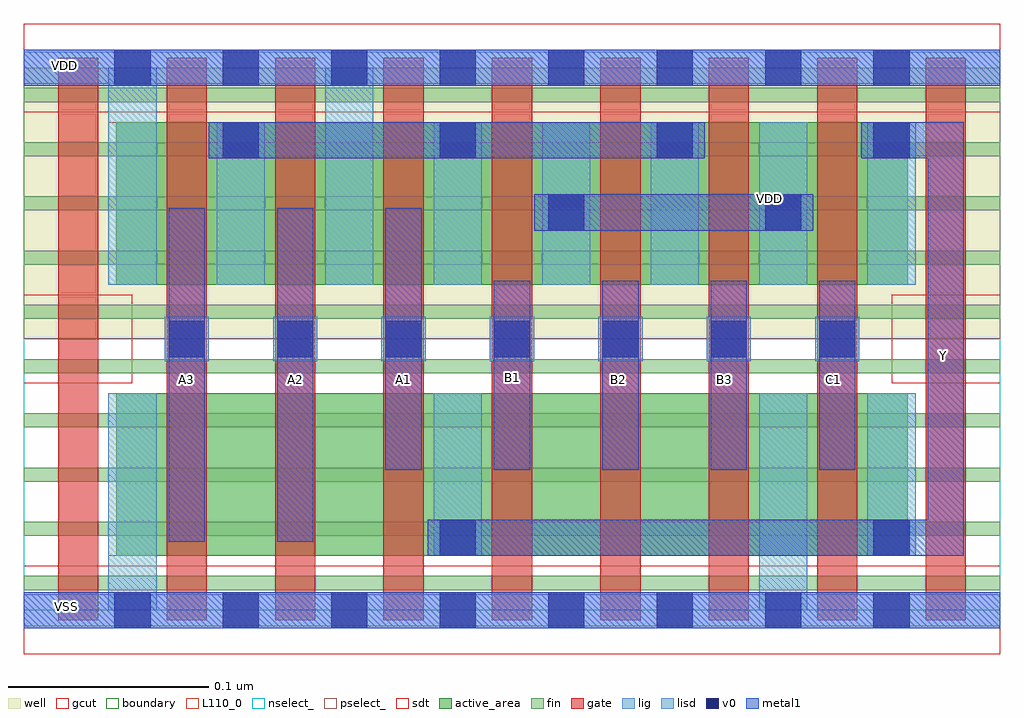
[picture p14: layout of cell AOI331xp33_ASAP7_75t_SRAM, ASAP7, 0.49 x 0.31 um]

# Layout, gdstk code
import gdstk
lib = gdstk.Library(unit=1e-6, precision=2.5e-10)
def R(c, l, rs):  # rectangles x0, y0, x1, y1
    for r in rs: c.add(gdstk.rectangle(r[:2], r[2:], *l))
def A(c, l, x, y, w, h, nx, ny, dx, dy):  # array of equal rectangles
    R(c, l, [(x+i*dx, y+j*dy, x+i*dx+w, y+j*dy+h) for i in range(nx) for j in range(ny)])
well = (1, 0)
fin = (2, 0)
gate = (7, 0)
gcut = (10, 0)
active_area = (11, 0)
nselect_ = (12, 0)
pselect_ = (13, 0)
lig = (16, 0)
lisd = (17, 0)
v0 = (18, 0)
metal1 = (19, 0)
sdt = (88, 0)
boundary = (100, 0)
L110_0 = (110, 0)

aoi331xp33_asap7_75t_sra = lib.new_cell('AOI331xp33_ASAP7_75t_SRAM')
R(aoi331xp33_asap7_75t_sra, well, [(0,0.135,0.486,0.27)])
A(aoi331xp33_asap7_75t_sra, fin, 0, 0.01, 0.486, 0.007, 1, 10, 0, 0.027)
A(aoi331xp33_asap7_75t_sra, gate, 0.017, -0.005, 0.02, 0.28, 9, 1, 0.054, 0)
R(aoi331xp33_asap7_75t_sra, gate, [(0.449,-0.005,0.469,0.275), (0.449,-0.005,0.469,0.275)])
R(aoi331xp33_asap7_75t_sra, gcut, [(0,-0.022,0.098,0.022), (0,-0.022,0.486,0.022), (0.442,-0.022,0.486,0.022), (0,0.113,0.054,0.157), (0.432,0.113,0.486,0.157), (0,0.248,0.098,0.292), (0,0.248,0.486,0.292), (0.442,0.248,0.486,0.292)])
R(aoi331xp33_asap7_75t_sra, active_area, [(0.046,0.027,0.44,0.108), (0.046,0.162,0.44,0.243)])
R(aoi331xp33_asap7_75t_sra, nselect_, [(0,0,0.486,0.135)])
R(aoi331xp33_asap7_75t_sra, pselect_, [(0,0.135,0.486,0.27)])
A(aoi331xp33_asap7_75t_sra, lig, 0.07, 0.124, 0.022, 0.022, 7, 1, 0.054, 0)
R(aoi331xp33_asap7_75t_sra, lig, [(0,-0.008,0.486,0.008), (0,0.262,0.486,0.278)])
A(aoi331xp33_asap7_75t_sra, lisd, 0.042, 0.162, 0.024, 0.081, 8, 1, 0.054, 0)
R(aoi331xp33_asap7_75t_sra, lisd, [(0.042,0,0.066,0.108), (0.366,0,0.39,0.108), (0.204,0.027,0.228,0.108), (0.42,0.027,0.444,0.108), (0.042,0.162,0.066,0.27), (0.15,0.162,0.174,0.27), (0.42,0.162,0.444,0.243)])
A(aoi331xp33_asap7_75t_sra, v0, 0.045, -0.009, 0.018, 0.018, 8, 2, 0.054, 0.27)
A(aoi331xp33_asap7_75t_sra, v0, 0.072, 0.126, 0.018, 0.018, 7, 1, 0.054, 0)
A(aoi331xp33_asap7_75t_sra, v0, 0.099, 0.225, 0.018, 0.018, 4, 1, 0.108, 0)
R(aoi331xp33_asap7_75t_sra, v0, [(0.423,-0.009,0.441,0.009), (0.423,-0.009,0.441,0.009), (0.207,0.027,0.225,0.045), (0.423,0.027,0.441,0.045), (0.261,0.189,0.279,0.207), (0.369,0.189,0.387,0.207), (0.423,0.261,0.441,0.279), (0.423,0.261,0.441,0.279)])
A(aoi331xp33_asap7_75t_sra, metal1, 0.234, 0.07, 0.018, 0.094, 4, 1, 0.054, 0)
R(aoi331xp33_asap7_75t_sra, metal1, [(0,-0.009,0.486,0.009), (0.201,0.027,0.459,0.045), (0.45,0.027,0.468,0.243), (0.072,0.034,0.09,0.2), (0.126,0.034,0.144,0.2), (0.18,0.07,0.198,0.2), (0.254,0.189,0.393,0.207), (0.092,0.225,0.339,0.243), (0.417,0.225,0.463,0.243), (0,0.261,0.486,0.279)])
A(aoi331xp33_asap7_75t_sra, sdt, 0.042, 0.027, 0.024, 0.081, 3, 1, 0.162, 0)
A(aoi331xp33_asap7_75t_sra, sdt, 0.042, 0.162, 0.024, 0.081, 8, 1, 0.054, 0)
R(aoi331xp33_asap7_75t_sra, sdt, [(0.42,0.027,0.444,0.108), (0.42,0.162,0.444,0.243), (0.42,0.162,0.444,0.243)])
R(aoi331xp33_asap7_75t_sra, boundary, [(0,0,0.486,0.27)])
R(aoi331xp33_asap7_75t_sra, L110_0, [(0,0,0.486,0.27)])
aoi331xp33_asap7_75t_sra.add(gdstk.Label('C1', (0.403,0.115), layer=19, texttype=251))
aoi331xp33_asap7_75t_sra.add(gdstk.Label('VDD', (0.02,0.271), layer=19, texttype=251))
aoi331xp33_asap7_75t_sra.add(gdstk.Label('VSS', (0.021,0.002), layer=19, texttype=251))
aoi331xp33_asap7_75t_sra.add(gdstk.Label('B3', (0.349,0.115), layer=19, texttype=251))
aoi331xp33_asap7_75t_sra.add(gdstk.Label('B2', (0.296,0.115), layer=19, texttype=251))
aoi331xp33_asap7_75t_sra.add(gdstk.Label('B1', (0.243,0.116), layer=19, texttype=251))
aoi331xp33_asap7_75t_sra.add(gdstk.Label('A1', (0.189,0.115), layer=19, texttype=251))
aoi331xp33_asap7_75t_sra.add(gdstk.Label('A2', (0.135,0.115), layer=19, texttype=251))
aoi331xp33_asap7_75t_sra.add(gdstk.Label('A3', (0.081,0.115), layer=19, texttype=251))
aoi331xp33_asap7_75t_sra.add(gdstk.Label('Y', (0.458,0.127), layer=19, texttype=251))
aoi331xp33_asap7_75t_sra.add(gdstk.Label('VDD', (0.371,0.205), layer=1, texttype=251))
aoi331xp33_asap7_75t_sra.add(gdstk.Label('VSS', (0.312,-0.046), layer=3, texttype=251))

lib.write_gds('AOI331xp33_ASAP7_75t_SRAM.gds')
